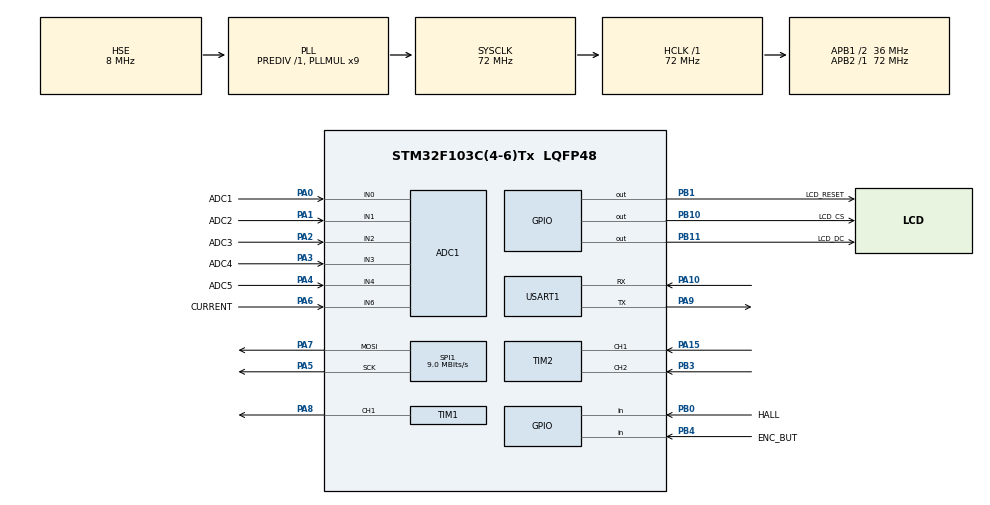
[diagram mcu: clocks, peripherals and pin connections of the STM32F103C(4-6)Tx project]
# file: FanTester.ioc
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ADC1.Channel-0\#ChannelRegularConversion=ADC_CHANNEL_0
ADC1.Channel-1\#ChannelRegularConversion=ADC_CHANNEL_1
ADC1.Channel-2\#ChannelRegularConversion=ADC_CHANNEL_2
ADC1.Channel-3\#ChannelRegularConversion=ADC_CHANNEL_3
ADC1.Channel-4\#ChannelRegularConversion=ADC_CHANNEL_4
ADC1.Channel-5\#ChannelRegularConversion=ADC_CHANNEL_6
ADC1.Channel-6\#ChannelRegularConversion=ADC_CHANNEL_VREFINT
ADC1.ContinuousConvMode=ENABLE
ADC1.EnableInjectedConversion=DISABLE
ADC1.InjNumberOfConversion=0
ADC1.NbrOfConversion=7
ADC1.NbrOfConversionFlag=1
ADC1.Rank-0\#ChannelRegularConversion=1
ADC1.Rank-1\#ChannelRegularConversion=2
ADC1.Rank-2\#ChannelRegularConversion=3
ADC1.Rank-3\#ChannelRegularConversion=4
ADC1.Rank-4\#ChannelRegularConversion=5
ADC1.Rank-5\#ChannelRegularConversion=6
ADC1.Rank-6\#ChannelRegularConversion=7
ADC1.SamplingTime-0\#ChannelRegularConversion=ADC_SAMPLETIME_239CYCLES_5
ADC1.SamplingTime-1\#ChannelRegularConversion=ADC_SAMPLETIME_239CYCLES_5
ADC1.SamplingTime-2\#ChannelRegularConversion=ADC_SAMPLETIME_239CYCLES_5
ADC1.SamplingTime-3\#ChannelRegularConversion=ADC_SAMPLETIME_239CYCLES_5
ADC1.SamplingTime-4\#ChannelRegularConversion=ADC_SAMPLETIME_239CYCLES_5
ADC1.SamplingTime-5\#ChannelRegularConversion=ADC_SAMPLETIME_239CYCLES_5
ADC1.SamplingTime-6\#ChannelRegularConversion=ADC_SAMPLETIME_239CYCLES_5
ADC1.master=1
Dma.ADC1.0.Direction=DMA_PERIPH_TO_MEMORY
Dma.ADC1.0.Instance=DMA1_Channel1
Dma.ADC1.0.MemDataAlignment=DMA_MDATAALIGN_HALFWORD
Dma.ADC1.0.MemInc=DMA_MINC_ENABLE
Dma.ADC1.0.Mode=DMA_CIRCULAR
Dma.ADC1.0.PeriphDataAlignment=DMA_PDATAALIGN_HALFWORD
Dma.ADC1.0.PeriphInc=DMA_PINC_DISABLE
Dma.ADC1.0.Priority=DMA_PRIORITY_HIGH
Dma.Request0=ADC1
Mcu.Family=STM32F1
Mcu.Name=STM32F103C(4-6)Tx
Mcu.Package=LQFP48
NVIC.DMA1_Channel1_IRQn=true\:0\:0\:false\:false\:true\:false\:true\:true
NVIC.PriorityGroup=NVIC_PRIORITYGROUP_4
NVIC.TIM3_IRQn=true\:0\:0\:false\:false\:true\:true\:true\:true
PA0-WKUP.GPIO_Label=ADC1
PA0-WKUP.Signal=SharedAnalog_PA0
PA1.GPIO_Label=ADC2
PA1.Signal=SharedAnalog_PA1
PA10.Mode=Asynchronous
PA10.Signal=USART1_RX
PA13.Mode=Serial_Wire
PA13.Signal=SYS_JTMS-SWDIO
PA14.Mode=Serial_Wire
PA14.Signal=SYS_JTCK-SWCLK
PA15.GPIO_PuPd=GPIO_PULLUP
PA15.Signal=S_TIM2_CH1_ETR
PA2.GPIO_Label=ADC3
PA2.Signal=SharedAnalog_PA2
PA3.GPIO_Label=ADC4
PA3.Signal=ADCx_IN3
PA4.GPIO_Label=ADC5
PA4.Signal=SharedAnalog_PA4
PA5.Mode=TX_Only_Simplex_Unidirect_Master
PA5.Signal=SPI1_SCK
PA6.GPIO_Label=CURRENT
PA6.Signal=SharedAnalog_PA6
PA7.Mode=TX_Only_Simplex_Unidirect_Master
PA7.Signal=SPI1_MOSI
PA8.GPIO_ModeDefaultPP=GPIO_MODE_AF_PP
PA8.GPIO_Speed=GPIO_SPEED_FREQ_HIGH
PA8.Signal=S_TIM1_CH1
PA9.Mode=Asynchronous
PA9.Signal=USART1_TX
PB0.GPIO_Label=HALL
PB0.GPIO_PuPd=GPIO_PULLUP
PB0.Signal=GPIO_Input
PB1.GPIO_Label=LCD_RESET
PB1.Signal=GPIO_Output
PB10.GPIO_Label=LCD_CS
PB10.GPIO_Speed=GPIO_SPEED_FREQ_HIGH
PB10.Signal=GPIO_Output
PB11.GPIO_Label=LCD_DC
PB11.GPIO_Speed=GPIO_SPEED_FREQ_HIGH
PB11.Signal=GPIO_Output
PB3.GPIO_PuPd=GPIO_PULLUP
PB3.Signal=S_TIM2_CH2
PB4.GPIO_Label=ENC_BUT
PB4.GPIO_PuPd=GPIO_PULLUP
PB4.Signal=GPIO_Input
PD0-OSC_IN.Mode=HSE-External-Oscillator
PD0-OSC_IN.Signal=RCC_OSC_IN
PD1-OSC_OUT.Mode=HSE-External-Oscillator
PD1-OSC_OUT.Signal=RCC_OSC_OUT
ProjectManager.HeapSize=0x200
ProjectManager.StackSize=0x400
ProjectManager.TargetToolchain=STM32CubeIDE
RCC.ADCPresc=RCC_ADCPCLK2_DIV6
RCC.AHBFreq_Value=72000000
RCC.APB1CLKDivider=RCC_HCLK_DIV2
RCC.APB1Freq_Value=36000000
RCC.APB1TimFreq_Value=72000000
RCC.APB2Freq_Value=72000000
RCC.APB2TimFreq_Value=72000000
RCC.HCLKFreq_Value=72000000
RCC.PLLMUL=RCC_PLL_MUL9
RCC.PLLSourceVirtual=RCC_PLLSOURCE_HSE
RCC.SYSCLKFreq_VALUE=72000000
RCC.SYSCLKSource=RCC_SYSCLKSOURCE_PLLCLK
RCC.USBFreq_Value=72000000
SH.ADCx_IN3.0=ADC1_IN3,IN3
SH.S_TIM1_CH1.0=TIM1_CH1,PWM Generation1 CH1
SH.S_TIM2_CH1_ETR.0=TIM2_CH1,Encoder_Interface
SH.S_TIM2_CH2.0=TIM2_CH2,Encoder_Interface
SH.SharedAnalog_PA0.0=GPIO_Analog
SH.SharedAnalog_PA0.1=ADC1_IN0,IN0
SH.SharedAnalog_PA1.0=GPIO_Analog
SH.SharedAnalog_PA1.1=ADC1_IN1,IN1
SH.SharedAnalog_PA2.0=GPIO_Analog
SH.SharedAnalog_PA2.1=ADC1_IN2,IN2
SH.SharedAnalog_PA4.0=GPIO_Analog
SH.SharedAnalog_PA4.1=ADC1_IN4,IN4
SH.SharedAnalog_PA6.0=GPIO_Analog
SH.SharedAnalog_PA6.1=ADC1_IN6,IN6
SPI1.BaudRatePrescaler=SPI_BAUDRATEPRESCALER_8
SPI1.CalculateBaudRate=9.0 MBits/s
SPI1.Direction=SPI_DIRECTION_2LINES
SPI1.Mode=SPI_MODE_MASTER
SPI1.VirtualType=VM_MASTER
TIM1.Channel-PWM\ Generation1\ CH1=TIM_CHANNEL_1
TIM1.OCPolarity_1=TIM_OCPOLARITY_HIGH
TIM1.Period=99
TIM1.Prescaler=20
TIM2.IC1Filter=6
TIM2.IC2Filter=6
TIM2.IC2Prescaler=TIM_ICPSC_DIV2
TIM3.Period=9
TIM3.Prescaler=720
USART1.VirtualMode=VM_ASYNC
VP_ADC1_Vref_Input.Mode=IN-Vrefint
VP_TIM3_VS_ClockSourceINT.Mode=Internal
board=custom

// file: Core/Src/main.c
/* USER CODE BEGIN Header */
/**
 ******************************************************************************
 * @file           : main.c
 * @brief          : Main program body
 ******************************************************************************
 * @attention
 *
 * Copyright (c) 2022 STMicroelectronics.
 * All rights reserved.
 *
 * This software is licensed under terms that can be found in the LICENSE file
 * in the root directory of this software component.
 * If no LICENSE file comes with this software, it is provided AS-IS.
 *
 ******************************************************************************
 */
/* USER CODE END Header */
#include "main.h"

SPI_HandleTypeDef hspi1;

TIM_HandleTypeDef htim1;
TIM_HandleTypeDef htim2;
TIM_HandleTypeDef htim3;

UART_HandleTypeDef huart1;

/* USER CODE BEGIN PV */
char string1[24];
char string2[24];
char string3[24];
char string4[24];
char string5[24];
char string6[24];
char string7[24];
char string8[24];
char botString[24];

volatile uint16_t adc[7] = { 0, };

int pwm = 0;
int a, b, c, d;
int revMeas;
int tickFreq;
int period = 25000;
int tick = 24999;

int ap;
int bp;
int cp;
int dp;

int hallSensor = 0;

float voltage;
float current;

uint32_t lastUpdate = 0;
uint32_t lastCurrentMeasure = 0;

uint32_t lastStop = 0;

Averager_t averCurrent;
Averager_t averPeriod;
/* USER CODE END PV */

void SystemClock_Config(void);
static void MX_GPIO_Init(void);
static void MX_TIM1_Init(void);
static void MX_USART1_UART_Init(void);
static void MX_SPI1_Init(void);
static void MX_ADC1_Init(void);
static void MX_DMA_Init(void);
static void MX_TIM3_Init(void);
static void MX_TIM2_Init(void);

/* USER CODE BEGIN 0 */
int getPwm(int period, int tick) {
	if (HAL_GetTick() - lastStop < 1000)
		return pwm;
	ap = (period * a) / 100;
	bp = (period - ap) * b / 100;
	cp = ((period - ap - bp) * c) / 100;
	dp = ((period - ap - bp - cp) * d) / 100;
	if (tick < ap)
		return 0;
	if (tick < (ap + cp))
		return pwm * (tick - ap) / cp;
	if (tick < (period - bp - dp))
		return pwm;
	if (tick < (period - bp))
		return pwm * (period - tick - bp) / dp;
	return 0;
}

void HAL_TIM_PeriodElapsedCallback(TIM_HandleTypeDef *htim) {

	if (htim == &htim3) {
		uint32_t pinRead = HAL_GPIO_ReadPin(HALL_GPIO_Port, HALL_Pin);
		if (hallSensor != pinRead && tick > 20) {
			hallSensor = pinRead;
			period = tick;
			tick = 0;
			revMeas = 2500 / (1 + period);
		} else {
			tick++;
		}
		if (tick > 25000) {
			tick = 0;
			period = 25000;
			lastStop = HAL_GetTick();
		}
		TIM1->CCR1 = getPwm(period, tick);
	}
}

/* USER CODE END 0 */

int main(void) {

	/* MCU Configuration--------------------------------------------------------*/

	/* Reset of all peripherals, Initializes the Flash interface and the Systick. */
	HAL_Init();

	/* Configure the system clock */
	SystemClock_Config();

	/* Initialize all configured peripherals */
	MX_GPIO_Init();
	MX_TIM1_Init();
	MX_USART1_UART_Init();
	MX_SPI1_Init();
	MX_ADC1_Init();
	MX_DMA_Init();
	MX_TIM3_Init();
	MX_TIM2_Init();
	/* USER CODE BEGIN 2 */
	hallSensor = HAL_GPIO_ReadPin(HALL_GPIO_Port, HALL_Pin);

	LL_ADC_StartCalibration(ADC1);

	UC1609_Init(&hspi1, LCD_CS_GPIO_Port, LCD_CS_Pin, LCD_DC_GPIO_Port,
	LCD_DC_Pin,
	LCD_RESET_GPIO_Port, LCD_RESET_Pin);

	HAL_TIM_Base_Start_IT(&htim3);
	HAL_TIM_PWM_Start(&htim1, TIM_CHANNEL_1);
	HAL_TIM_Encoder_Start(&htim2, TIM_CHANNEL_ALL);

	LL_DMA_ConfigTransfer(DMA1,
	LL_DMA_CHANNEL_1,
	LL_DMA_DIRECTION_PERIPH_TO_MEMORY |
	LL_DMA_MODE_CIRCULAR |
	LL_DMA_PERIPH_NOINCREMENT |
	LL_DMA_MEMORY_INCREMENT |
	LL_DMA_PDATAALIGN_HALFWORD |
	LL_DMA_MDATAALIGN_HALFWORD |
	LL_DMA_PRIORITY_HIGH);
	LL_DMA_ConfigAddresses(DMA1,
	LL_DMA_CHANNEL_1, LL_ADC_DMA_GetRegAddr(ADC1, LL_ADC_DMA_REG_REGULAR_DATA), (uint32_t) &adc,
	LL_DMA_DIRECTION_PERIPH_TO_MEMORY);

	LL_DMA_SetDataLength(DMA1, LL_DMA_CHANNEL_1, 7);
	LL_DMA_EnableIT_TC(DMA1, LL_DMA_CHANNEL_1);
	LL_DMA_EnableIT_TE(DMA1, LL_DMA_CHANNEL_1);
	LL_DMA_EnableChannel(DMA1, LL_DMA_CHANNEL_1);

	LL_ADC_Enable(ADC1);

	/* USER CODE END 2 */

	/* Infinite loop */
	/* USER CODE BEGIN WHILE */
	LL_ADC_REG_StartConversionSWStart(ADC1);

	while (1) {
		a = (adc[0] - 45) / 40;
		b = (adc[1] - 45) / 40;
		c = (adc[2] - 45) / 40;
		d = (adc[3] - 45) / 40;
		pwm = (adc[4] - 45) / 40;

		if (a < 0)
			a = 0;
		if (a > 100)
			a = 100;
		if (b < 0)
			b = 0;
		if (b > 100)
			b = 100;
		if (c < 0)
			c = 0;
		if (c > 100)
			c = 100;
		if (d < 0)
			d = 0;
		if (d > 100)
			d = 100;
		if (pwm < 0)
			pwm = 0;
		if (pwm > 100)
			pwm = 100;

		UC1609_Clean();

		int ax = (140 * a) / 100;
		int bx = (140 - ax) * b / 100;
		int cx = ((140 - ax - bx) * c) / 100;
		int dx = ((140 - ax - bx - cx) * d) / 100;

		UC1609_DrawLine(ax, 63, ax + cx, 63 - 63 * pwm / 100);
		UC1609_DrawLine(ax + cx, 63 - 63 * pwm / 100, 140 - bx - dx, 63 - 63 * pwm / 100);
		UC1609_DrawLine(140 - dx - bx, 63 - 63 * pwm / 100, 140 - bx, 63);

		voltage = 3.0f * 1479.0 * 100 / 31.3 / (float) adc[6];
		//current = adc[5] * voltage / 4096.0;
		if (HAL_GetTick()- lastCurrentMeasure>100)
		{
			lastCurrentMeasure=HAL_GetTick();
			AveragerAddValue(&averCurrent, adc[5]);
		}

		if (HAL_GetTick() - lastUpdate > 500) {
			lastUpdate = HAL_GetTick();

			sprintf(string1, "%d %d", a, b);
			sprintf(string2, "%d %d", c, d);
			sprintf(string3, "PWM:%d ", pwm);
			sprintf(string4, "REV:%d ", revMeas);
			sprintf(string5, "I:%d", averCurrent.average);
			sprintf(string6, "P:%d", period);
			//sprintf(botString, "1:%d,2:%d,3:%d,4:%d", period[0], period[1], period[2], period[3]);
		}

		UC1609_SetPos(24, 0);
		UC1609_PutString(string1);
		UC1609_SetPos(24, 1);
		UC1609_PutString(string2);
		UC1609_SetPos(24, 2);
		UC1609_PutString(string3);
		UC1609_SetPos(24, 3);
		UC1609_PutString(string4);
		UC1609_SetPos(24, 4);
		UC1609_PutString(string5);
		UC1609_SetPos(24, 5);
		UC1609_PutString(string6);
		UC1609_SetPos(24, 6);
		UC1609_PutString(string7);
		UC1609_SetPos(0, 7);
		UC1609_PutString(botString);
		UC1609_DrawDottedLine(140, 0, 140, 55);
		UC1609_UpdateScreen();
		if (revMeas == 0) {

		}
		//HAL_Delay(50);
		/* USER CODE END WHILE */

	}
}

void SystemClock_Config(void) {
	RCC_OscInitTypeDef RCC_OscInitStruct = { 0 };
	RCC_ClkInitTypeDef RCC_ClkInitStruct = { 0 };
	RCC_PeriphCLKInitTypeDef PeriphClkInit = { 0 };

	/** Initializes the RCC Oscillators according to the specified parameters
	 * in the RCC_OscInitTypeDef structure.
	 */
	RCC_OscInitStruct.OscillatorType = RCC_OSCILLATORTYPE_HSE;
	RCC_OscInitStruct.HSEState = RCC_HSE_ON;
	RCC_OscInitStruct.HSEPredivValue = RCC_HSE_PREDIV_DIV1;
	RCC_OscInitStruct.HSIState = RCC_HSI_ON;
	RCC_OscInitStruct.PLL.PLLState = RCC_PLL_ON;
	RCC_OscInitStruct.PLL.PLLSource = RCC_PLLSOURCE_HSE;
	RCC_OscInitStruct.PLL.PLLMUL = RCC_PLL_MUL9;
	if (HAL_RCC_OscConfig(&RCC_OscInitStruct) != HAL_OK) {
		Error_Handler();
	}
	/** Initializes the CPU, AHB and APB buses clocks
	 */
	RCC_ClkInitStruct.ClockType = RCC_CLOCKTYPE_HCLK | RCC_CLOCKTYPE_SYSCLK | RCC_CLOCKTYPE_PCLK1 | RCC_CLOCKTYPE_PCLK2;
	RCC_ClkInitStruct.SYSCLKSource = RCC_SYSCLKSOURCE_PLLCLK;
	RCC_ClkInitStruct.AHBCLKDivider = RCC_SYSCLK_DIV1;
	RCC_ClkInitStruct.APB1CLKDivider = RCC_HCLK_DIV2;
	RCC_ClkInitStruct.APB2CLKDivider = RCC_HCLK_DIV1;

	if (HAL_RCC_ClockConfig(&RCC_ClkInitStruct, FLASH_LATENCY_2) != HAL_OK) {
		Error_Handler();
	}
	PeriphClkInit.PeriphClockSelection = RCC_PERIPHCLK_ADC;
	PeriphClkInit.AdcClockSelection = RCC_ADCPCLK2_DIV6;
	if (HAL_RCCEx_PeriphCLKConfig(&PeriphClkInit) != HAL_OK) {
		Error_Handler();
	}
}

static void MX_ADC1_Init(void) {

	LL_ADC_InitTypeDef ADC_InitStruct = { 0 };
	LL_ADC_CommonInitTypeDef ADC_CommonInitStruct = { 0 };
	LL_ADC_REG_InitTypeDef ADC_REG_InitStruct = { 0 };

	LL_GPIO_InitTypeDef GPIO_InitStruct = { 0 };

	/* Peripheral clock enable */
	LL_APB2_GRP1_EnableClock(LL_APB2_GRP1_PERIPH_ADC1);

	LL_APB2_GRP1_EnableClock(LL_APB2_GRP1_PERIPH_GPIOA);
	/**ADC1 GPIO Configuration
	 PA0-WKUP   ------> ADC1_IN0
	 PA1   ------> ADC1_IN1
	 PA2   ------> ADC1_IN2
	 PA3   ------> ADC1_IN3
	 PA4   ------> ADC1_IN4
	 PA6   ------> ADC1_IN6
	 */
	GPIO_InitStruct.Pin = LL_GPIO_PIN_0 | LL_GPIO_PIN_1 | LL_GPIO_PIN_2 | LL_GPIO_PIN_3 | LL_GPIO_PIN_4 | LL_GPIO_PIN_6;
	GPIO_InitStruct.Mode = LL_GPIO_MODE_ANALOG;
	LL_GPIO_Init(GPIOA, &GPIO_InitStruct);

	/* ADC1 DMA Init */

	/* ADC1 Init */
	LL_DMA_SetDataTransferDirection(DMA1, LL_DMA_CHANNEL_1,
	LL_DMA_DIRECTION_PERIPH_TO_MEMORY);

	LL_DMA_SetChannelPriorityLevel(DMA1, LL_DMA_CHANNEL_1,
	LL_DMA_PRIORITY_HIGH);

	LL_DMA_SetMode(DMA1, LL_DMA_CHANNEL_1, LL_DMA_MODE_CIRCULAR);

	LL_DMA_SetPeriphIncMode(DMA1, LL_DMA_CHANNEL_1, LL_DMA_PERIPH_NOINCREMENT);

	LL_DMA_SetMemoryIncMode(DMA1, LL_DMA_CHANNEL_1, LL_DMA_MEMORY_INCREMENT);

	LL_DMA_SetPeriphSize(DMA1, LL_DMA_CHANNEL_1, LL_DMA_PDATAALIGN_HALFWORD);

	LL_DMA_SetMemorySize(DMA1, LL_DMA_CHANNEL_1, LL_DMA_MDATAALIGN_HALFWORD);

	/** Common config
	 */
	ADC_InitStruct.DataAlignment = LL_ADC_DATA_ALIGN_RIGHT;
	ADC_InitStruct.SequencersScanMode = LL_ADC_SEQ_SCAN_ENABLE;
	LL_ADC_Init(ADC1, &ADC_InitStruct);
	ADC_CommonInitStruct.Multimode = LL_ADC_MULTI_INDEPENDENT;
	LL_ADC_CommonInit(__LL_ADC_COMMON_INSTANCE(ADC1), &ADC_CommonInitStruct);
	ADC_REG_InitStruct.TriggerSource = LL_ADC_REG_TRIG_SOFTWARE;
	ADC_REG_InitStruct.SequencerLength = LL_ADC_REG_SEQ_SCAN_ENABLE_7RANKS;
	ADC_REG_InitStruct.SequencerDiscont = LL_ADC_REG_SEQ_DISCONT_DISABLE;
	ADC_REG_InitStruct.ContinuousMode = LL_ADC_REG_CONV_CONTINUOUS;
	ADC_REG_InitStruct.DMATransfer = LL_ADC_REG_DMA_TRANSFER_UNLIMITED;
	LL_ADC_REG_Init(ADC1, &ADC_REG_InitStruct);
	/** Configure Regular Channel
	 */
	LL_ADC_REG_SetSequencerRanks(ADC1, LL_ADC_REG_RANK_1, LL_ADC_CHANNEL_0);
	LL_ADC_SetChannelSamplingTime(ADC1, LL_ADC_CHANNEL_0,
	LL_ADC_SAMPLINGTIME_239CYCLES_5);
	/** Configure Regular Channel
	 */
	LL_ADC_REG_SetSequencerRanks(ADC1, LL_ADC_REG_RANK_2, LL_ADC_CHANNEL_1);
	LL_ADC_SetChannelSamplingTime(ADC1, LL_ADC_CHANNEL_1,
	LL_ADC_SAMPLINGTIME_239CYCLES_5);
	/** Configure Regular Channel
	 */
	LL_ADC_REG_SetSequencerRanks(ADC1, LL_ADC_REG_RANK_3, LL_ADC_CHANNEL_2);
	LL_ADC_SetChannelSamplingTime(ADC1, LL_ADC_CHANNEL_2,
	LL_ADC_SAMPLINGTIME_239CYCLES_5);
	/** Configure Regular Channel
	 */
	LL_ADC_REG_SetSequencerRanks(ADC1, LL_ADC_REG_RANK_4, LL_ADC_CHANNEL_3);
	LL_ADC_SetChannelSamplingTime(ADC1, LL_ADC_CHANNEL_3,
	LL_ADC_SAMPLINGTIME_239CYCLES_5);
	/** Configure Regular Channel
	 */
	LL_ADC_REG_SetSequencerRanks(ADC1, LL_ADC_REG_RANK_5, LL_ADC_CHANNEL_4);
	LL_ADC_SetChannelSamplingTime(ADC1, LL_ADC_CHANNEL_4,
	LL_ADC_SAMPLINGTIME_239CYCLES_5);
	/** Configure Regular Channel
	 */
	LL_ADC_REG_SetSequencerRanks(ADC1, LL_ADC_REG_RANK_6, LL_ADC_CHANNEL_6);
	LL_ADC_SetChannelSamplingTime(ADC1, LL_ADC_CHANNEL_6,
	LL_ADC_SAMPLINGTIME_239CYCLES_5);
	/** Configure Regular Channel
	 */
	LL_ADC_REG_SetSequencerRanks(ADC1, LL_ADC_REG_RANK_7,
	LL_ADC_CHANNEL_VREFINT);
	LL_ADC_SetChannelSamplingTime(ADC1, LL_ADC_CHANNEL_VREFINT,
	LL_ADC_SAMPLINGTIME_239CYCLES_5);
	LL_ADC_SetCommonPathInternalCh(__LL_ADC_COMMON_INSTANCE(ADC1),
	LL_ADC_PATH_INTERNAL_VREFINT);

}

static void MX_SPI1_Init(void) {

	/* SPI1 parameter configuration*/
	hspi1.Instance = SPI1;
	hspi1.Init.Mode = SPI_MODE_MASTER;
	hspi1.Init.Direction = SPI_DIRECTION_2LINES;
	hspi1.Init.DataSize = SPI_DATASIZE_8BIT;
	hspi1.Init.CLKPolarity = SPI_POLARITY_LOW;
	hspi1.Init.CLKPhase = SPI_PHASE_1EDGE;
	hspi1.Init.NSS = SPI_NSS_SOFT;
	hspi1.Init.BaudRatePrescaler = SPI_BAUDRATEPRESCALER_8;
	hspi1.Init.FirstBit = SPI_FIRSTBIT_MSB;
	hspi1.Init.TIMode = SPI_TIMODE_DISABLE;
	hspi1.Init.CRCCalculation = SPI_CRCCALCULATION_DISABLE;
	hspi1.Init.CRCPolynomial = 10;
	if (HAL_SPI_Init(&hspi1) != HAL_OK) {
		Error_Handler();
	}

}

static void MX_TIM1_Init(void) {

	TIM_MasterConfigTypeDef sMasterConfig = { 0 };
	TIM_OC_InitTypeDef sConfigOC = { 0 };
	TIM_BreakDeadTimeConfigTypeDef sBreakDeadTimeConfig = { 0 };

	htim1.Instance = TIM1;
	htim1.Init.Prescaler = 20;
	htim1.Init.CounterMode = TIM_COUNTERMODE_UP;
	htim1.Init.Period = 99;
	htim1.Init.ClockDivision = TIM_CLOCKDIVISION_DIV1;
	htim1.Init.RepetitionCounter = 0;
	htim1.Init.AutoReloadPreload = TIM_AUTORELOAD_PRELOAD_DISABLE;
	if (HAL_TIM_PWM_Init(&htim1) != HAL_OK) {
		Error_Handler();
	}
	sMasterConfig.MasterOutputTrigger = TIM_TRGO_RESET;
	sMasterConfig.MasterSlaveMode = TIM_MASTERSLAVEMODE_DISABLE;
	if (HAL_TIMEx_MasterConfigSynchronization(&htim1, &sMasterConfig) != HAL_OK) {
		Error_Handler();
	}
	sConfigOC.OCMode = TIM_OCMODE_PWM1;
	sConfigOC.Pulse = 0;
	sConfigOC.OCPolarity = TIM_OCPOLARITY_HIGH;
	sConfigOC.OCNPolarity = TIM_OCNPOLARITY_HIGH;
	sConfigOC.OCFastMode = TIM_OCFAST_DISABLE;
	sConfigOC.OCIdleState = TIM_OCIDLESTATE_RESET;
	sConfigOC.OCNIdleState = TIM_OCNIDLESTATE_RESET;
	if (HAL_TIM_PWM_ConfigChannel(&htim1, &sConfigOC, TIM_CHANNEL_1) != HAL_OK) {
		Error_Handler();
	}
	sBreakDeadTimeConfig.OffStateRunMode = TIM_OSSR_DISABLE;
	sBreakDeadTimeConfig.OffStateIDLEMode = TIM_OSSI_DISABLE;
	sBreakDeadTimeConfig.LockLevel = TIM_LOCKLEVEL_OFF;
	sBreakDeadTimeConfig.DeadTime = 0;
	sBreakDeadTimeConfig.BreakState = TIM_BREAK_DISABLE;
	sBreakDeadTimeConfig.BreakPolarity = TIM_BREAKPOLARITY_HIGH;
	sBreakDeadTimeConfig.AutomaticOutput = TIM_AUTOMATICOUTPUT_DISABLE;
	if (HAL_TIMEx_ConfigBreakDeadTime(&htim1, &sBreakDeadTimeConfig) != HAL_OK) {
		Error_Handler();
	}
	HAL_TIM_MspPostInit(&htim1);

}

static void MX_TIM2_Init(void) {

	TIM_Encoder_InitTypeDef sConfig = { 0 };
	TIM_MasterConfigTypeDef sMasterConfig = { 0 };

	htim2.Instance = TIM2;
	htim2.Init.Prescaler = 0;
	htim2.Init.CounterMode = TIM_COUNTERMODE_UP;
	htim2.Init.Period = 65535;
	htim2.Init.ClockDivision = TIM_CLOCKDIVISION_DIV1;
	htim2.Init.AutoReloadPreload = TIM_AUTORELOAD_PRELOAD_DISABLE;
	sConfig.EncoderMode = TIM_ENCODERMODE_TI1;
	sConfig.IC1Polarity = TIM_ICPOLARITY_RISING;
	sConfig.IC1Selection = TIM_ICSELECTION_DIRECTTI;
	sConfig.IC1Prescaler = TIM_ICPSC_DIV1;
	sConfig.IC1Filter = 6;
	sConfig.IC2Polarity = TIM_ICPOLARITY_RISING;
	sConfig.IC2Selection = TIM_ICSELECTION_DIRECTTI;
	sConfig.IC2Prescaler = TIM_ICPSC_DIV2;
	sConfig.IC2Filter = 6;
	if (HAL_TIM_Encoder_Init(&htim2, &sConfig) != HAL_OK) {
		Error_Handler();
	}
	sMasterConfig.MasterOutputTrigger = TIM_TRGO_RESET;
	sMasterConfig.MasterSlaveMode = TIM_MASTERSLAVEMODE_DISABLE;
	if (HAL_TIMEx_MasterConfigSynchronization(&htim2, &sMasterConfig) != HAL_OK) {
		Error_Handler();
	}

}

static void MX_TIM3_Init(void) {

	TIM_ClockConfigTypeDef sClockSourceConfig = { 0 };
	TIM_MasterConfigTypeDef sMasterConfig = { 0 };

	htim3.Instance = TIM3;
	htim3.Init.Prescaler = 720;
	htim3.Init.CounterMode = TIM_COUNTERMODE_UP;
	htim3.Init.Period = 9;
	htim3.Init.ClockDivision = TIM_CLOCKDIVISION_DIV1;
	htim3.Init.AutoReloadPreload = TIM_AUTORELOAD_PRELOAD_DISABLE;
	if (HAL_TIM_Base_Init(&htim3) != HAL_OK) {
		Error_Handler();
	}
	sClockSourceConfig.ClockSource = TIM_CLOCKSOURCE_INTERNAL;
	if (HAL_TIM_ConfigClockSource(&htim3, &sClockSourceConfig) != HAL_OK) {
		Error_Handler();
	}
	sMasterConfig.MasterOutputTrigger = TIM_TRGO_RESET;
	sMasterConfig.MasterSlaveMode = TIM_MASTERSLAVEMODE_DISABLE;
	if (HAL_TIMEx_MasterConfigSynchronization(&htim3, &sMasterConfig) != HAL_OK) {
		Error_Handler();
	}

}

static void MX_USART1_UART_Init(void) {

	huart1.Instance = USART1;
	huart1.Init.BaudRate = 115200;
	huart1.Init.WordLength = UART_WORDLENGTH_8B;
	huart1.Init.StopBits = UART_STOPBITS_1;
	huart1.Init.Parity = UART_PARITY_NONE;
	huart1.Init.Mode = UART_MODE_TX_RX;
	huart1.Init.HwFlowCtl = UART_HWCONTROL_NONE;
	huart1.Init.OverSampling = UART_OVERSAMPLING_16;
	if (HAL_UART_Init(&huart1) != HAL_OK) {
		Error_Handler();
	}

}

static void MX_DMA_Init(void) {

	/* Init with LL driver */
	/* DMA controller clock enable */
	LL_AHB1_GRP1_EnableClock(LL_AHB1_GRP1_PERIPH_DMA1);

	/* DMA interrupt init */
	/* DMA1_Channel1_IRQn interrupt configuration */
	NVIC_SetPriority(DMA1_Channel1_IRQn, NVIC_EncodePriority(NVIC_GetPriorityGrouping(), 0, 0));
	NVIC_EnableIRQ(DMA1_Channel1_IRQn);

}

static void MX_GPIO_Init(void) {
	GPIO_InitTypeDef GPIO_InitStruct = { 0 };

	/* GPIO Ports Clock Enable */
	__HAL_RCC_GPIOD_CLK_ENABLE();
	__HAL_RCC_GPIOA_CLK_ENABLE();
	__HAL_RCC_GPIOB_CLK_ENABLE();

	/*Configure GPIO pin Output Level */
	HAL_GPIO_WritePin(GPIOB, LCD_RESET_Pin | LCD_CS_Pin | LCD_DC_Pin, GPIO_PIN_RESET);

	/*Configure GPIO pins : HALL_Pin ENC_BUT_Pin */
	GPIO_InitStruct.Pin = HALL_Pin | ENC_BUT_Pin;
	GPIO_InitStruct.Mode = GPIO_MODE_INPUT;
	GPIO_InitStruct.Pull = GPIO_PULLUP;
	HAL_GPIO_Init(GPIOB, &GPIO_InitStruct);

	/*Configure GPIO pin : LCD_RESET_Pin */
	GPIO_InitStruct.Pin = LCD_RESET_Pin;
	GPIO_InitStruct.Mode = GPIO_MODE_OUTPUT_PP;
	GPIO_InitStruct.Pull = GPIO_NOPULL;
	GPIO_InitStruct.Speed = GPIO_SPEED_FREQ_LOW;
	HAL_GPIO_Init(LCD_RESET_GPIO_Port, &GPIO_InitStruct);

	/*Configure GPIO pins : LCD_CS_Pin LCD_DC_Pin */
	GPIO_InitStruct.Pin = LCD_CS_Pin | LCD_DC_Pin;
	GPIO_InitStruct.Mode = GPIO_MODE_OUTPUT_PP;
	GPIO_InitStruct.Pull = GPIO_NOPULL;
	GPIO_InitStruct.Speed = GPIO_SPEED_FREQ_HIGH;
	HAL_GPIO_Init(GPIOB, &GPIO_InitStruct);

}

void Error_Handler(void) {
	__disable_irq();
	while (1) {
	}
}
